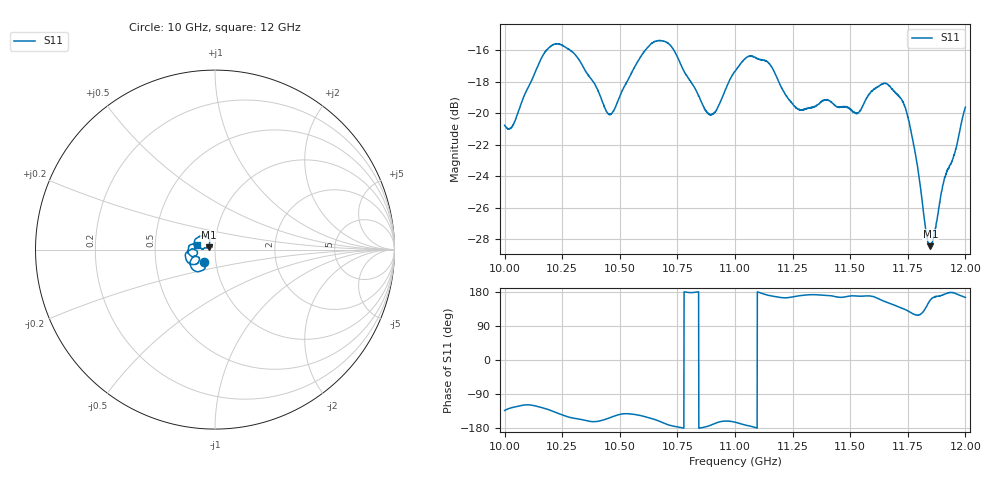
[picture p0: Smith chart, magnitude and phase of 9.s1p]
[Version] 2.0
! Rohde & Schwarz Vector Network Analyzer
! Rohde-Schwarz,ZNL20-2Port,1323001220200009,1.71.1.10-23.02.1.238
! Port Assignments:
! Nominal Port -> Actual Test Port
!  1 -> 1
! Created: GMT 2024-08-27 13:52:17
# Hz S DB R 50
[Number of Ports] 1
! freq[Hz]  S11[mag dB]  S11[ang]
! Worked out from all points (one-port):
!   2001 points, 10 GHz to 12 GHz, reference 50 ohm
!   lowest |S11| = -28.4 dB at 11.85 GHz (marker M1), VSWR 1.08, Z = 46.6 + j1.29 ohm
!   |S11| at or under -10 dB: start of sweep to end of sweep
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[Number of Frequencies] 28
[Network Data]
1e10  -20.77 -133.3
1.0037e10  -20.74 -124.9
1.0175e10  -16.14 -127.8
1.025e10  -15.69 -144.9
1.0321e10  -16.57 -155.8
1.0449e10  -20.01 -154.1
1.05e10  -18.92 -143.5
1.0643e10  -15.52 -155.3
1.0704e10  -15.52 -169.7
1.075e10  -16.42 -176.5
1.0892e10  -20.11 -172.6
1.1e10  -17.34 -164.0
1.106e10  -16.39 -173.8
1.1136e10  -16.70 171.9
1.125e10  -19.39 166.4
1.1398e10  -19.16 170.4
1.15e10  -19.73 169.0
1.1537e10  -19.95 168.6
1.1652e10  -18.11 153.8
1.1721e10  -19.08 137.4
1.175e10  -20.26 129.4
1.179e10  -23.19 118.5
1.1831e10  -27.73 140.6
1.1848e10  -28.45 158.5
1.1866e10  -27.54 166.7
1.1909e10  -24.18 173.4
1.1952e10  -22.65 176.6
1.2e10  -19.62 165.1
[End]
